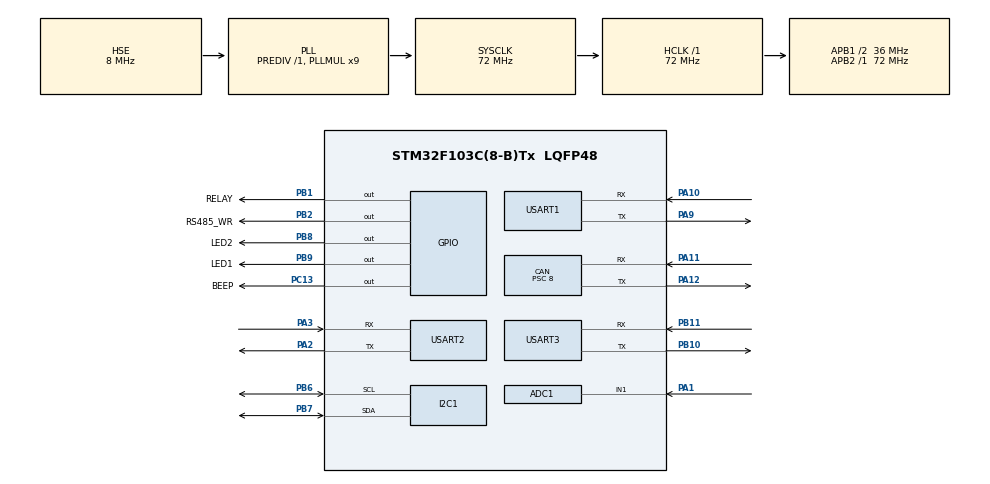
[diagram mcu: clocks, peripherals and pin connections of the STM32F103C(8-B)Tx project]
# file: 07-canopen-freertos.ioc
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ADC1.Channel-6\#ChannelRegularConversion=ADC_CHANNEL_TEMPSENSOR
ADC1.NbrOfConversionFlag=1
ADC1.Rank-6\#ChannelRegularConversion=1
ADC1.SamplingTime-6\#ChannelRegularConversion=ADC_SAMPLETIME_239CYCLES_5
ADC1.master=1
CAN.BS1=CAN_BS1_6TQ
CAN.BS2=CAN_BS2_2TQ
CAN.CalculateBaudRate=500000
CAN.CalculateTimeBit=2000
CAN.CalculateTimeQuantum=222.22222222222223
CAN.Prescaler=8
Dma.Request0=USART3_RX
Dma.Request1=USART1_RX
Dma.USART1_RX.1.Direction=DMA_PERIPH_TO_MEMORY
Dma.USART1_RX.1.Instance=DMA1_Channel5
Dma.USART1_RX.1.MemDataAlignment=DMA_MDATAALIGN_BYTE
Dma.USART1_RX.1.MemInc=DMA_MINC_ENABLE
Dma.USART1_RX.1.Mode=DMA_CIRCULAR
Dma.USART1_RX.1.PeriphDataAlignment=DMA_PDATAALIGN_BYTE
Dma.USART1_RX.1.PeriphInc=DMA_PINC_DISABLE
Dma.USART1_RX.1.Priority=DMA_PRIORITY_LOW
Dma.USART3_RX.0.Direction=DMA_PERIPH_TO_MEMORY
Dma.USART3_RX.0.Instance=DMA1_Channel3
Dma.USART3_RX.0.MemDataAlignment=DMA_MDATAALIGN_BYTE
Dma.USART3_RX.0.MemInc=DMA_MINC_ENABLE
Dma.USART3_RX.0.Mode=DMA_CIRCULAR
Dma.USART3_RX.0.PeriphDataAlignment=DMA_PDATAALIGN_BYTE
Dma.USART3_RX.0.PeriphInc=DMA_PINC_DISABLE
Dma.USART3_RX.0.Priority=DMA_PRIORITY_HIGH
FREERTOS.Tasks01=Modbus,0,128,ModbusTask,Default,NULL,Dynamic,NULL,NULL;MQTT,0,128,MQTTTask,Default,NULL,Dynamic,NULL,NULL;CANopen,0,128,CANopenTask,Default,NULL,Dynamic,NULL,NULL
Mcu.Family=STM32F1
Mcu.Name=STM32F103C(8-B)Tx
Mcu.Package=LQFP48
NVIC.DMA1_Channel3_IRQn=true\:5\:0\:false\:false\:true\:true\:false\:true\:true
NVIC.DMA1_Channel5_IRQn=true\:5\:0\:false\:false\:true\:true\:false\:true\:true
NVIC.PriorityGroup=NVIC_PRIORITYGROUP_4
NVIC.TIM1_UP_IRQn=true\:15\:0\:false\:false\:true\:false\:true\:true\:true
NVIC.TIM2_IRQn=true\:5\:0\:false\:false\:true\:true\:true\:true\:true
NVIC.TIM3_IRQn=true\:5\:0\:true\:false\:false\:true\:true\:true\:true
NVIC.TIM4_IRQn=true\:5\:0\:false\:false\:true\:true\:true\:true\:true
NVIC.TimeBase=TIM1_UP_IRQn
NVIC.TimeBaseIP=TIM1
NVIC.USART2_IRQn=true\:5\:0\:false\:false\:false\:true\:true\:true\:true
NVIC.USART3_IRQn=true\:5\:0\:false\:false\:true\:true\:true\:true\:true
NVIC.USB_LP_CAN1_RX0_IRQn=true\:5\:0\:false\:false\:true\:true\:true\:true\:true
PA1.Signal=ADCx_IN1
PA10.Mode=Asynchronous
PA10.Signal=USART1_RX
PA11.Mode=CAN_Activate
PA11.Signal=CAN_RX
PA12.Mode=CAN_Activate
PA12.Signal=CAN_TX
PA13.Mode=Serial_Wire
PA13.Signal=SYS_JTMS-SWDIO
PA14.Mode=Serial_Wire
PA14.Signal=SYS_JTCK-SWCLK
PA2.Mode=Asynchronous
PA2.Signal=USART2_TX
PA3.Mode=Asynchronous
PA3.Signal=USART2_RX
PA9.Mode=Asynchronous
PA9.Signal=USART1_TX
PB1.GPIO_Label=RELAY
PB1.Signal=GPIO_Output
PB10.Mode=Asynchronous
PB10.Signal=USART3_TX
PB11.Mode=Asynchronous
PB11.Signal=USART3_RX
PB2.GPIO_Label=RS485_WR
PB2.GPIO_Speed=GPIO_SPEED_FREQ_MEDIUM
PB2.Signal=GPIO_Output
PB6.Mode=I2C
PB6.Signal=I2C1_SCL
PB7.Mode=I2C
PB7.Signal=I2C1_SDA
PB8.GPIO_Label=LED2
PB8.PinState=GPIO_PIN_SET
PB8.Signal=GPIO_Output
PB9.GPIO_Label=LED1
PB9.PinState=GPIO_PIN_SET
PB9.Signal=GPIO_Output
PC13-TAMPER-RTC.GPIO_Label=BEEP
PC13-TAMPER-RTC.Signal=GPIO_Output
PD0-OSC_IN.Mode=HSE-External-Oscillator
PD0-OSC_IN.Signal=RCC_OSC_IN
PD1-OSC_OUT.Mode=HSE-External-Oscillator
PD1-OSC_OUT.Signal=RCC_OSC_OUT
ProjectManager.HeapSize=0x200
ProjectManager.StackSize=0x400
ProjectManager.TargetToolchain=MDK-ARM V5.32
RCC.ADCPresc=RCC_ADCPCLK2_DIV6
RCC.AHBFreq_Value=72000000
RCC.APB1CLKDivider=RCC_HCLK_DIV2
RCC.APB1Freq_Value=36000000
RCC.APB1TimFreq_Value=72000000
RCC.APB2Freq_Value=72000000
RCC.APB2TimFreq_Value=72000000
RCC.HCLKFreq_Value=72000000
RCC.PLLMUL=RCC_PLL_MUL9
RCC.PLLSourceVirtual=RCC_PLLSOURCE_HSE
RCC.RTCClockSelection=RCC_RTCCLKSOURCE_LSE
RCC.SYSCLKFreq_VALUE=72000000
RCC.SYSCLKSource=RCC_SYSCLKSOURCE_PLLCLK
RCC.USBFreq_Value=72000000
SH.ADCx_IN1.0=ADC1_IN1,IN1
TIM2.AutoReloadPreload=TIM_AUTORELOAD_PRELOAD_ENABLE
TIM2.Period=0x2000
TIM2.Prescaler=72-1
TIM3.AutoReloadPreload=TIM_AUTORELOAD_PRELOAD_ENABLE
TIM3.Period=100
TIM3.Prescaler=3599
TIM4.AutoReloadPreload=TIM_AUTORELOAD_PRELOAD_DISABLE
TIM4.Period=100
TIM4.Prescaler=7200-1
USART1.VirtualMode=VM_ASYNC
USART2.VirtualMode=VM_ASYNC
USART3.VirtualMode=VM_ASYNC
VP_ADC1_TempSens_Input.Mode=IN-TempSens
VP_FREERTOS_VS_CMSIS_V1.Mode=CMSIS_V1
VP_SYS_VS_tim1.Mode=TIM1
VP_TIM2_VS_ClockSourceINT.Mode=Internal
VP_TIM3_VS_ClockSourceINT.Mode=Internal
VP_TIM4_VS_ClockSourceINT.Mode=Internal
board=custom

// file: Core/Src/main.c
/* USER CODE BEGIN Header */
/**
  ******************************************************************************
  * @file           : main.c
  * @brief          : Main program body
  ******************************************************************************
  * @attention
  *
  * Copyright (c) 2025 STMicroelectronics.
  * All rights reserved.
  *
  * This software is licensed under terms that can be found in the LICENSE file
  * in the root directory of this software component.
  * If no LICENSE file comes with this software, it is provided AS-IS.
  *
  ******************************************************************************
  */
/* USER CODE END Header */
#include "main.h"
#include "cmsis_os.h"
#include "adc.h"
#include "can.h"
#include "dma.h"
#include "i2c.h"
#include "tim.h"
#include "usart.h"
#include "gpio.h"

/* USER CODE BEGIN Includes */
#include <stdio.h>
#include "oled.h"
#include "aht20.h"
#include "ina226.h"
#include "mb.h"
#include "modbus.h"
#include "wifi4g.h"
#include "fifo.h"
#include "mqtt.h"
#include "f1can.h"
#include "canfestival.h"
#include "testslave.h"
/* USER CODE END Includes */

void SystemClock_Config(void);
void MX_FREERTOS_Init(void);

int main(void)
{

  /* MCU Configuration--------------------------------------------------------*/

  /* Reset of all peripherals, Initializes the Flash interface and the Systick. */
  HAL_Init();

  /* Configure the system clock */
  SystemClock_Config();

  /* Initialize all configured peripherals */
  MX_GPIO_Init();
  MX_DMA_Init();
  MX_USART1_UART_Init();
  MX_USART2_UART_Init();
  MX_USART3_UART_Init();
  MX_TIM2_Init();
  MX_TIM3_Init();
  MX_TIM4_Init();
  MX_I2C1_Init();
  MX_ADC1_Init();
  MX_CAN_Init();
  /* USER CODE BEGIN 2 */

	HAL_Delay(400); // 延时给 esp8266 打印日志

	__HAL_UART_ENABLE_IT(&huart1, UART_IT_IDLE); //使能串UART1 IDLE(空闲)中断
	HAL_UART_Receive_DMA(&huart1, RX1_Buf, DMA_BUF_SIZE); //设置DMA传输，将uart1的数据搬运到RX1_Buf中

	__HAL_UART_ENABLE_IT(&huart3, UART_IT_IDLE); //使能串UART3 IDLE(空闲)中断
	HAL_UART_Receive_DMA(&huart3, RX3_Buf, DMA_BUF_SIZE); //设置DMA传输，将uart3的数据搬运到RX3_Buf中
	printf("Uart1 init is ok\n");
	printf("CANOpen Test\n");

	OLED_Init();
	OLED_CLS(); // 清除屏幕显示
	OLED_ShowStr(16,0, (unsigned char*)"CANOpen Test", 2);
	AHT20_Init();
	INA226_Init();
	Queue_Init(&QUART3);// 队列初始化

	Modbus_Init();

  /* USER CODE END 2 */

  /* Call init function for freertos objects (in cmsis_os2.c) */
  MX_FREERTOS_Init();

  /* Start scheduler */
  osKernelStart();

  /* We should never get here as control is now taken by the scheduler */

  /* Infinite loop */
  while (1)
  {

  }
}

void SystemClock_Config(void)
{
  RCC_OscInitTypeDef RCC_OscInitStruct = {0};
  RCC_ClkInitTypeDef RCC_ClkInitStruct = {0};
  RCC_PeriphCLKInitTypeDef PeriphClkInit = {0};

  /** Initializes the RCC Oscillators according to the specified parameters
  * in the RCC_OscInitTypeDef structure.
  */
  RCC_OscInitStruct.OscillatorType = RCC_OSCILLATORTYPE_HSE;
  RCC_OscInitStruct.HSEState = RCC_HSE_ON;
  RCC_OscInitStruct.HSEPredivValue = RCC_HSE_PREDIV_DIV1;
  RCC_OscInitStruct.HSIState = RCC_HSI_ON;
  RCC_OscInitStruct.PLL.PLLState = RCC_PLL_ON;
  RCC_OscInitStruct.PLL.PLLSource = RCC_PLLSOURCE_HSE;
  RCC_OscInitStruct.PLL.PLLMUL = RCC_PLL_MUL9;
  if (HAL_RCC_OscConfig(&RCC_OscInitStruct) != HAL_OK)
  {
    Error_Handler();
  }

  /** Initializes the CPU, AHB and APB buses clocks
  */
  RCC_ClkInitStruct.ClockType = RCC_CLOCKTYPE_HCLK|RCC_CLOCKTYPE_SYSCLK
                              |RCC_CLOCKTYPE_PCLK1|RCC_CLOCKTYPE_PCLK2;
  RCC_ClkInitStruct.SYSCLKSource = RCC_SYSCLKSOURCE_PLLCLK;
  RCC_ClkInitStruct.AHBCLKDivider = RCC_SYSCLK_DIV1;
  RCC_ClkInitStruct.APB1CLKDivider = RCC_HCLK_DIV2;
  RCC_ClkInitStruct.APB2CLKDivider = RCC_HCLK_DIV1;

  if (HAL_RCC_ClockConfig(&RCC_ClkInitStruct, FLASH_LATENCY_2) != HAL_OK)
  {
    Error_Handler();
  }
  PeriphClkInit.PeriphClockSelection = RCC_PERIPHCLK_ADC;
  PeriphClkInit.AdcClockSelection = RCC_ADCPCLK2_DIV6;
  if (HAL_RCCEx_PeriphCLKConfig(&PeriphClkInit) != HAL_OK)
  {
    Error_Handler();
  }
}

void HAL_TIM_PeriodElapsedCallback(TIM_HandleTypeDef *htim)
{
  /* USER CODE BEGIN Callback 0 */
	static uint32_t Count500ms = 0;
  /* USER CODE END Callback 0 */
  if (htim->Instance == TIM1)
  {
    HAL_IncTick();
  }
  /* USER CODE BEGIN Callback 1 */
	if(htim->Instance == TIM1)
	{
		Count500ms++;

		if(Count500ms >= 500)
		{
			Count500ms = 0;
			TIM1_Timeout_Flag = 1;
		}
	}
	if(htim->Instance == TIM4)
	{
		HAL_TIM_Base_Stop(&htim4); // 关闭定时器4中断
		WIFI4G_CMD_Status =  WIFI4G_Parse_Queue(&QUART3) ;
	}
  /* USER CODE END Callback 1 */
}

void Error_Handler(void)
{
  __disable_irq();
  while (1)
  {
  }
}

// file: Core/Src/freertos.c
/* USER CODE BEGIN Header */
/**
  ******************************************************************************
  * File Name          : freertos.c
  * Description        : Code for freertos applications
  ******************************************************************************
  * @attention
  *
  * Copyright (c) 2026 STMicroelectronics.
  * All rights reserved.
  *
  * This software is licensed under terms that can be found in the LICENSE file
  * in the root directory of this software component.
  * If no LICENSE file comes with this software, it is provided AS-IS.
  *
  ******************************************************************************
  */
/* USER CODE END Header */

#include "FreeRTOS.h"
#include "task.h"
#include "main.h"
#include "cmsis_os.h"

/* USER CODE BEGIN Includes */
#include "mb.h"
#include "modbus.h"
#include "mqtt.h"
#include "f1can.h"
#include "canfestival.h"
#include "testslave.h"
#include "tim.h"
/* USER CODE END Includes */

osThreadId ModbusHandle;
osThreadId MQTTHandle;
osThreadId CANopenHandle;

void ModbusTask(void const * argument);
void MQTTTask(void const * argument);
void CANopenTask(void const * argument);

void MX_FREERTOS_Init(void); /* (MISRA C 2004 rule 8.1) */

/* GetIdleTaskMemory prototype (linked to static allocation support) */
void vApplicationGetIdleTaskMemory( StaticTask_t **ppxIdleTaskTCBBuffer, StackType_t **ppxIdleTaskStackBuffer, uint32_t *pulIdleTaskStackSize );

/* USER CODE BEGIN GET_IDLE_TASK_MEMORY */
static StaticTask_t xIdleTaskTCBBuffer;
static StackType_t xIdleStack[configMINIMAL_STACK_SIZE];

void vApplicationGetIdleTaskMemory( StaticTask_t **ppxIdleTaskTCBBuffer, StackType_t **ppxIdleTaskStackBuffer, uint32_t *pulIdleTaskStackSize )
{
  *ppxIdleTaskTCBBuffer = &xIdleTaskTCBBuffer;
  *ppxIdleTaskStackBuffer = &xIdleStack[0];
  *pulIdleTaskStackSize = configMINIMAL_STACK_SIZE;
  /* place for user code */
}
/* USER CODE END GET_IDLE_TASK_MEMORY */

void MX_FREERTOS_Init(void) {

  /* Create the thread(s) */
  /* definition and creation of Modbus */
  osThreadDef(Modbus, ModbusTask, osPriorityNormal, 0, 128);
  ModbusHandle = osThreadCreate(osThread(Modbus), NULL);

  /* definition and creation of MQTT */
  osThreadDef(MQTT, MQTTTask, osPriorityNormal, 0, 128);
  MQTTHandle = osThreadCreate(osThread(MQTT), NULL);

  /* definition and creation of CANopen */
  osThreadDef(CANopen, CANopenTask, osPriorityNormal, 0, 128);
  CANopenHandle = osThreadCreate(osThread(CANopen), NULL);

}

void ModbusTask(void const * argument)
{
  /* USER CODE BEGIN ModbusTask */

  /* Infinite loop */
  for(;;)
  {
		eMBPoll();// 轮训查询
		Modbus_Parse(); // 500ms 周期性刷新
    osDelay(10);
  }
  /* USER CODE END ModbusTask */
}

void MQTTTask(void const * argument)
{
  /* USER CODE BEGIN MQTTTask */
	MQTT_Connect_Server();
  /* Infinite loop */
  for(;;)
  {
		MQTT_SendData();
    osDelay(1000*5);
  }
  /* USER CODE END MQTTTask */
}

void CANopenTask(void const * argument)
{
  /* USER CODE BEGIN CANopenTask */
	HAL_TIM_Base_Start_IT(&htim2);
	CanFestival_Can_Init();
	setNodeId(&TestSlave_Data, SlaveAddress);
	setState(&TestSlave_Data, Initialisation);
	setState(&TestSlave_Data, Operational);

  /* Infinite loop */
  for(;;)
  {
    osDelay(1000);
  }
  /* USER CODE END CANopenTask */
}
